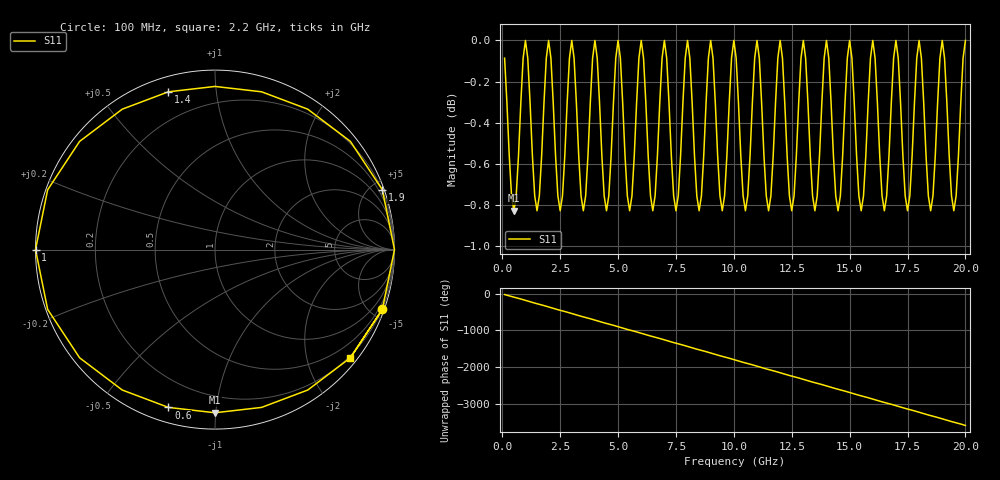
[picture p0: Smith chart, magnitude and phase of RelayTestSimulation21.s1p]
! File created by SignalIntegrity v1.2.1: Signal and Power Integrity Tools
! https://github.com/TeledyneLeCroy/SignalIntegrity
# MHz S MA R 50.0
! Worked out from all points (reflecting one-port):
!   200 points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, 100 MHz to 20 GHz, reference 50 ohm
!   lowest |S11| = -0.8 dB at 500 MHz (marker M1), VSWR 21.00, Z = 4.75 - j49.8 ohm
!   phase of S11 starts at -20 deg and turns -3580 deg over the sweep
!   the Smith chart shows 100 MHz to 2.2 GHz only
!   S11 on the Smith chart (normalised r, x): 100 MHz: 0.17, -5.76; 600 MHz: 0.07, -0.75; 1 GHz: -0.00, +0.00; 1.4 GHz: 0.07, +0.75; 1.9 GHz: 0.17, +5.76; 2.2 GHz: 0.16, -2.85
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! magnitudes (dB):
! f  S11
! 100 MHz  -0.1
! 500 MHz  -0.8
! 600 MHz  -0.8
! 1 GHz  0.0
! 1.4 GHz  -0.8
! 1.9 GHz  -0.1
! 2.2 GHz  -0.3
! 2.6 GHz  -0.8
! 3 GHz  0.0
! 3.5 GHz  -0.8
! 5.1 GHz  -0.1
! 5.5 GHz  -0.8
! 6 GHz  0.0
! 7.6 GHz  -0.8
! 8 GHz  0.0
! 8.5 GHz  -0.8
! 10.1 GHz  -0.1
! 10.5 GHz  -0.8
! 11 GHz  0.0
! 12.6 GHz  -0.8
! 13 GHz  0.0
! 13.5 GHz  -0.8
! 15.1 GHz  -0.1
! 15.5 GHz  -0.8
! 17.6 GHz  -0.8
! 19 GHz  0.0
! 19.5 GHz  -0.8
! 20 GHz  0.0
